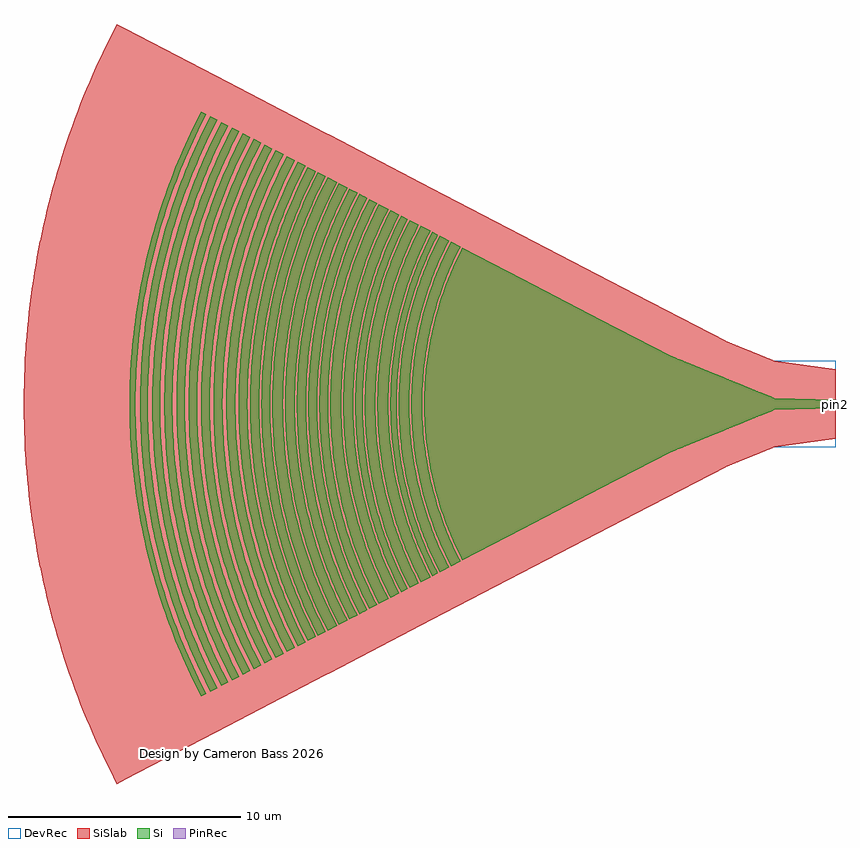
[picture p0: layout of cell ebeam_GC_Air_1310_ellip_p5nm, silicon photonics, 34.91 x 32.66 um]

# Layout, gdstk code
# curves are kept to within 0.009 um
import gdstk
lib = gdstk.Library(unit=1e-6, precision=1e-09)
def P(c, l, *ps):  # polygons
    for p in ps: c.add(gdstk.Polygon(p, *l))
Si = (1, 0)
PinRec = (1, 10)
SiSlab = (2, 0)
DevRec = (68, 0)

ebeam_gc_air_1310_ellip_ = lib.new_cell('ebeam_GC_Air_1310_ellip_p5nm')
P(ebeam_gc_air_1310_ellip_, Si, [(-16.05,-6.723),(-16.415,-5.971),(-16.789,-5.055),(-17.018,-4.386),(-17.283,-3.432),(-17.459,-2.602),(-17.586,-1.764),(-17.664,-0.918),(-17.692,-0.071),(-17.664,0.918),(-17.586,1.764),(-17.459,2.603),(-17.283,3.432),(-17.018,4.386),(-16.789,5.055),(-16.415,5.971),(-16.05,6.723),(-7.09,2.062),(-2.649,0.255),(0,0.175),(0,-0.175),(-2.66,-0.257),(-2.844,-0.342),(-3.198,-0.475),(-7.149,-2.087)],
  [(-16.542,-6.978),(-16.918,-6.201),(-17.255,-5.387),(-17.544,-4.554),(-17.784,-3.707),(-17.975,-2.847),(-18.115,-1.977),(-18.214,-0.954),(-18.244,-0.073),(-18.223,0.807),(-18.133,1.832),(-18.002,2.703),(-17.819,3.564),(-17.71,3.991),(-17.544,4.554),(-17.255,5.387),(-16.918,6.201),(-16.542,6.979),(-16.13,6.764),(-16.496,6.008),(-16.823,5.219),(-17.103,4.413),(-17.336,3.592),(-17.547,2.619),(-17.675,1.774),(-17.762,0.783),(-17.782,0.071),(-17.762,-0.783),(-17.675,-1.774),(-17.547,-2.618),(-17.37,-3.454),(-17.145,-4.278),(-16.873,-5.086),(-16.496,-6.008),(-16.13,-6.764)],
  [(-17.023,-7.229),(-17.412,-6.425),(-17.761,-5.582),(-18.06,-4.719),(-18.309,-3.841),(-18.506,-2.95),(-18.651,-2.049),(-18.744,-1.14),(-18.771,-0.684),(-18.785,-0.076),(-18.763,0.836),(-18.688,1.747),(-18.631,2.2),(-18.534,2.8),(-18.345,3.693),(-18.191,4.282),(-18.06,4.719),(-17.761,5.582),(-17.412,6.425),(-17.023,7.229),(-16.621,7.02),(-16.813,6.64),(-17.059,6.103),(-17.39,5.281),(-17.673,4.441),(-17.907,3.586),(-18.09,2.719),(-18.223,1.842),(-18.304,0.96),(-18.334,0.074),(-18.313,-0.812),(-18.223,-1.842),(-18.09,-2.719),(-17.907,-3.586),(-17.673,-4.441),(-17.39,-5.281),(-17.059,-6.103),(-16.621,-7.02)],
  [(-17.343,-7.396),(-17.741,-6.573),(-18.098,-5.711),(-18.404,-4.829),(-18.659,-3.93),(-18.861,-3.018),(-18.942,-2.558),(-19.029,-1.942),(-19.115,-1.011),(-19.146,-0.078),(-19.124,0.856),(-19.029,1.942),(-18.889,2.865),(-18.696,3.779),(-18.45,4.679),(-18.153,5.565),(-17.985,6.001),(-17.741,6.574),(-17.343,7.396),(-17.103,7.27),(-17.3,6.878),(-17.555,6.322),(-17.789,5.757),(-17.95,5.327),(-18.099,4.892),(-18.277,4.307),(-18.396,3.864),(-18.534,3.267),(-18.698,2.363),(-18.794,1.604),(-18.853,0.842),(-18.875,0.077),(-18.86,-0.689),(-18.809,-1.452),(-18.698,-2.363),(-18.565,-3.117),(-18.468,-3.566),(-18.318,-4.159),(-18.191,-4.6),(-18.001,-5.182),(-17.789,-5.756),(-17.555,-6.322),(-17.103,-7.27)],
  [(-17.839,-7.654),(-18.046,-7.241),(-18.315,-6.656),(-18.676,-5.76),(-18.984,-4.843),(-19.238,-3.911),(-19.438,-2.965),(-19.582,-2.01),(-19.671,-1.046),(-19.704,-0.08),(-19.68,0.886),(-19.601,1.85),(-19.466,2.807),(-19.345,3.44),(-19.238,3.911),(-18.984,4.843),(-18.676,5.76),(-18.502,6.211),(-18.25,6.804),(-17.839,7.654),(-17.423,7.437),(-17.625,7.037),(-17.886,6.468),(-18.181,5.743),(-18.49,4.855),(-18.746,3.953),(-18.978,2.881),(-19.118,1.952),(-19.182,1.33),(-19.214,0.861),(-19.236,0.078),(-19.214,-0.861),(-19.182,-1.33),(-19.118,-1.952),(-18.978,-2.881),(-18.783,-3.8),(-18.536,-4.707),(-18.236,-5.596),(-17.886,-6.468),(-17.625,-7.037),(-17.423,-7.437)],
  [(-18.319,-7.904),(-18.744,-7.025),(-19.004,-6.413),(-19.183,-5.948),(-19.502,-5.001),(-19.764,-4.038),(-19.97,-3.062),(-20.12,-2.075),(-20.211,-1.081),(-20.245,-0.083),(-20.221,0.915),(-20.139,1.91),(-19.999,2.898),(-19.803,3.877),(-19.64,4.522),(-19.502,5.001),(-19.183,5.948),(-19.004,6.413),(-18.744,7.026),(-18.319,7.904),(-17.92,7.696),(-18.333,6.841),(-18.525,6.395),(-18.761,5.791),(-19.071,4.871),(-19.327,3.933),(-19.528,2.981),(-19.673,2.02),(-19.763,1.053),(-19.796,0.081),(-19.772,-0.891),(-19.692,-1.859),(-19.556,-2.822),(-19.467,-3.3),(-19.327,-3.932),(-19.071,-4.87),(-18.761,-5.791),(-18.525,-6.394),(-18.333,-6.841),(-17.92,-7.696)],
  [(-18.681,-8.092),(-19.116,-7.192),(-19.507,-6.248),(-19.842,-5.283),(-20.034,-4.629),(-20.161,-4.134),(-20.372,-3.135),(-20.525,-2.124),(-20.619,-1.106),(-20.653,-0.085),(-20.629,0.936),(-20.545,1.956),(-20.402,2.967),(-20.274,3.636),(-20.161,4.134),(-20.034,4.629),(-19.842,5.282),(-19.507,6.248),(-19.116,7.192),(-18.681,8.092),(-18.399,7.946),(-18.615,7.518),(-18.96,6.756),(-19.149,6.292),(-19.381,5.664),(-19.588,5.029),(-19.727,4.546),(-19.891,3.897),(-19.997,3.407),(-20.142,2.583),(-20.247,1.753),(-20.312,0.92),(-20.336,0.084),(-20.312,-0.92),(-20.247,-1.753),(-20.142,-2.583),(-19.997,-3.407),(-19.891,-3.897),(-19.727,-4.546),(-19.539,-5.187),(-19.381,-5.664),(-19.149,-6.291),(-18.96,-6.756),(-18.615,-7.518),(-18.399,-7.945)],
  [(-19.139,-8.331),(-19.587,-7.405),(-19.862,-6.759),(-20.051,-6.269),(-20.386,-5.271),(-20.663,-4.256),(-20.88,-3.227),(-21.038,-2.187),(-21.134,-1.139),(-21.17,-0.088),(-21.16,0.614),(-21.134,1.139),(-21.038,2.187),(-20.88,3.227),(-20.663,4.256),(-20.386,5.271),(-20.051,6.269),(-19.658,7.245),(-19.441,7.723),(-19.139,8.331),(-18.762,8.134),(-19.199,7.23),(-19.467,6.599),(-19.651,6.12),(-19.979,5.147),(-20.25,4.156),(-20.462,3.151),(-20.616,2.135),(-20.71,1.113),(-20.745,0.086),(-20.72,-0.942),(-20.636,-1.965),(-20.492,-2.982),(-20.398,-3.487),(-20.25,-4.156),(-19.979,-5.147),(-19.651,-6.12),(-19.268,-7.073),(-18.983,-7.695),(-18.762,-8.134)],
  [(-19.638,-8.591),(-20.098,-7.638),(-20.513,-6.636),(-20.868,-5.611),(-21.164,-4.566),(-21.398,-3.507),(-21.571,-2.436),(-21.681,-1.355),(-21.712,-0.814),(-21.73,-0.09),(-21.704,0.994),(-21.614,2.077),(-21.463,3.151),(-21.327,3.861),(-21.207,4.391),(-20.922,5.437),(-20.698,6.126),(-20.513,6.636),(-20.098,7.638),(-19.638,8.591),(-19.22,8.373),(-19.669,7.442),(-20.074,6.465),(-20.254,5.968),(-20.473,5.298),(-20.709,4.449),(-20.937,3.417),(-21.106,2.373),(-21.184,1.673),(-21.225,1.145),(-21.261,0.088),(-21.256,-0.441),(-21.225,-1.145),(-21.128,-2.197),(-20.97,-3.243),(-20.751,-4.278),(-20.473,-5.298),(-20.254,-5.968),(-20.074,-6.465),(-19.669,-7.442),(-19.22,-8.373)],
  [(-20.053,-8.807),(-20.526,-7.828),(-20.951,-6.801),(-21.316,-5.749),(-21.619,-4.679),(-21.859,-3.594),(-22.036,-2.496),(-22.149,-1.389),(-22.181,-0.834),(-22.199,-0.093),(-22.172,1.019),(-22.081,2.128),(-22.011,2.68),(-21.893,3.412),(-21.663,4.5),(-21.475,5.217),(-21.316,5.749),(-20.951,6.801),(-20.526,7.828),(-20.053,8.807),(-19.722,8.634),(-20.184,7.676),(-20.601,6.668),(-20.959,5.638),(-21.256,4.589),(-21.492,3.524),(-21.586,2.987),(-21.688,2.267),(-21.788,1.181),(-21.825,0.091),(-21.815,-0.636),(-21.746,-1.725),(-21.641,-2.627),(-21.457,-3.702),(-21.341,-4.235),(-21.164,-4.941),(-20.959,-5.637),(-20.727,-6.327),(-20.469,-7.006),(-20.258,-7.509),(-19.955,-8.17),(-19.722,-8.634)],
  [(-20.473,-9.026),(-20.959,-8.021),(-21.395,-6.968),(-21.768,-5.891),(-22.079,-4.795),(-22.21,-4.24),(-22.36,-3.496),(-22.53,-2.369),(-22.635,-1.234),(-22.674,-0.095),(-22.646,1.044),(-22.552,2.181),(-22.393,3.309),(-22.289,3.869),(-22.124,4.611),(-21.932,5.345),(-21.768,5.892),(-21.395,6.968),(-20.959,8.021),(-20.473,9.026),(-20.134,8.849),(-20.374,8.372),(-20.758,7.524),(-21.036,6.833),(-21.227,6.307),(-21.457,5.6),(-21.612,5.063),(-21.795,4.34),(-21.913,3.794),(-22.074,2.876),(-22.191,1.952),(-22.263,1.024),(-22.29,0.093),(-22.272,-0.838),(-22.209,-1.768),(-22.101,-2.692),(-21.913,-3.794),(-21.795,-4.34),(-21.612,-5.063),(-21.402,-5.778),(-21.227,-6.307),(-20.969,-7.006),(-20.758,-7.524),(-20.374,-8.372),(-20.134,-8.849)],
  [(-20.908,-9.252),(-21.407,-8.219),(-21.853,-7.141),(-22.236,-6.038),(-22.555,-4.914),(-22.689,-4.345),(-22.843,-3.582),(-23.018,-2.428),(-23.125,-1.264),(-23.164,-0.097),(-23.159,0.487),(-23.125,1.264),(-23.018,2.428),(-22.843,3.583),(-22.601,4.725),(-22.294,5.851),(-21.922,6.959),(-21.486,8.042),(-21.16,8.749),(-20.908,9.252),(-20.558,9.069),(-20.805,8.577),(-21.123,7.884),(-21.551,6.821),(-21.916,5.737),(-22.218,4.632),(-22.455,3.512),(-22.626,2.38),(-22.731,1.24),(-22.77,0.096),(-22.751,-0.859),(-22.687,-1.811),(-22.576,-2.758),(-22.383,-3.887),(-22.218,-4.632),(-22.075,-5.187),(-21.86,-5.918),(-21.68,-6.462),(-21.484,-7),(-21.199,-7.708),(-20.887,-8.405),(-20.558,-9.069)],
  [(-21.359,-9.487),(-21.704,-8.792),(-21.951,-8.246),(-22.183,-7.694),(-22.398,-7.136),(-22.78,-6),(-23.095,-4.845),(-23.343,-3.674),(-23.522,-2.49),(-23.632,-1.296),(-23.672,-0.1),(-23.667,0.499),(-23.632,1.297),(-23.522,2.49),(-23.343,3.674),(-23.095,4.845),(-22.78,6),(-22.398,7.136),(-22.183,7.695),(-21.951,8.247),(-21.704,8.792),(-21.359,9.487),(-20.988,9.293),(-21.242,8.789),(-21.489,8.257),(-21.938,7.173),(-22.323,6.064),(-22.491,5.503),(-22.689,4.746),(-22.932,3.598),(-23.108,2.438),(-23.215,1.271),(-23.244,0.685),(-23.255,0.098),(-23.236,-0.88),(-23.17,-1.856),(-23.057,-2.826),(-22.859,-3.982),(-22.689,-4.746),(-22.491,-5.503),(-22.323,-6.064),(-22.073,-6.806),(-21.795,-7.537),(-21.568,-8.078),(-21.241,-8.788),(-20.988,-9.293)],
  [(-21.847,-9.74),(-22.111,-9.214),(-22.453,-8.469),(-22.691,-7.902),(-22.912,-7.328),(-23.117,-6.749),(-23.304,-6.162),(-23.475,-5.571),(-23.628,-4.976),(-23.764,-4.376),(-23.882,-3.773),(-23.983,-3.166),(-24.066,-2.557),(-24.179,-1.331),(-24.209,-0.717),(-24.22,-0.102),(-24.191,1.127),(-24.09,2.354),(-23.983,3.166),(-23.882,3.773),(-23.764,4.376),(-23.628,4.976),(-23.475,5.572),(-23.304,6.162),(-23.117,6.749),(-22.912,7.329),(-22.614,8.092),(-22.37,8.657),(-21.847,9.741),(-21.439,9.528),(-21.699,9.012),(-21.952,8.466),(-22.412,7.355),(-22.807,6.218),(-23.135,5.062),(-23.274,4.476),(-23.395,3.887),(-23.587,2.699),(-23.709,1.503),(-23.744,0.902),(-23.763,0.1),(-23.734,-1.103),(-23.676,-1.903),(-23.612,-2.5),(-23.432,-3.69),(-23.183,-4.867),(-22.866,-6.028),(-22.483,-7.167),(-22.033,-8.283),(-21.785,-8.831),(-21.439,-9.528)],
  [(-22.261,-9.956),(-22.796,-8.847),(-23.045,-8.27),(-23.277,-7.686),(-23.689,-6.499),(-23.869,-5.896),(-24.082,-5.086),(-24.341,-3.856),(-24.444,-3.236),(-24.529,-2.613),(-24.645,-1.361),(-24.687,-0.105),(-24.681,0.524),(-24.657,1.152),(-24.554,2.405),(-24.475,3.029),(-24.378,3.65),(-24.263,4.268),(-24.082,5.086),(-23.751,6.298),(-23.559,6.898),(-23.277,7.686),(-23.045,8.271),(-22.796,8.848),(-22.261,9.956),(-21.927,9.782),(-22.192,9.254),(-22.535,8.506),(-22.85,7.745),(-23.067,7.166),(-23.267,6.582),(-23.506,5.795),(-23.666,5.198),(-23.852,4.395),(-23.971,3.789),(-24.072,3.179),(-24.201,2.158),(-24.281,1.132),(-24.311,0.103),(-24.305,-0.515),(-24.281,-1.132),(-24.201,-2.159),(-24.072,-3.179),(-23.971,-3.789),(-23.852,-4.395),(-23.666,-5.198),(-23.506,-5.794),(-23.267,-6.581),(-23.067,-7.166),(-22.774,-7.936),(-22.535,-8.505),(-22.28,-9.068),(-21.927,-9.782)],
  [(-22.695,-10.182),(-22.973,-9.629),(-23.244,-9.046),(-23.499,-8.456),(-23.736,-7.859),(-23.955,-7.255),(-24.157,-6.645),(-24.399,-5.822),(-24.559,-5.2),(-24.701,-4.573),(-24.824,-3.943),(-24.93,-3.309),(-25.017,-2.672),(-25.085,-2.032),(-25.135,-1.391),(-25.166,-0.75),(-25.178,-0.107),(-25.172,0.536),(-25.147,1.178),(-25.104,1.819),(-25.042,2.459),(-24.961,3.097),(-24.862,3.732),(-24.701,4.573),(-24.559,5.2),(-24.399,5.822),(-24.22,6.44),(-24.024,7.053),(-23.811,7.659),(-23.58,8.258),(-23.331,8.851),(-22.973,9.629),(-22.695,10.182),(-22.344,9.999),(-22.616,9.458),(-22.967,8.693),(-23.289,7.915),(-23.51,7.324),(-23.779,6.526),(-23.959,5.922),(-24.123,5.312),(-24.313,4.492),(-24.505,3.458),(-24.648,2.415),(-24.739,1.367),(-24.77,0.737),(-24.782,0.105),(-24.762,-0.947),(-24.725,-1.577),(-24.67,-2.206),(-24.538,-3.249),(-24.355,-4.286),(-24.222,-4.903),(-24.016,-5.719),(-23.779,-6.526),(-23.51,-7.324),(-23.289,-7.915),(-22.967,-8.693),(-22.706,-9.268),(-22.344,-9.999)],
  [(-23.127,-10.407),(-23.509,-9.639),(-23.691,-9.241),(-23.951,-8.638),(-24.194,-8.028),(-24.418,-7.411),(-24.625,-6.787),(-24.813,-6.158),(-24.983,-5.524),(-25.134,-4.886),(-25.267,-4.243),(-25.381,-3.596),(-25.476,-2.947),(-25.552,-2.295),(-25.624,-1.421),(-25.656,-0.766),(-25.668,-0.109),(-25.662,0.547),(-25.637,1.203),(-25.592,1.858),(-25.529,2.512),(-25.446,3.164),(-25.307,4.028),(-25.18,4.672),(-25.035,5.312),(-24.871,5.948),(-24.689,6.578),(-24.489,7.205),(-24.271,7.824),(-24.034,8.436),(-23.78,9.041),(-23.509,9.639),(-23.127,10.407),(-22.792,10.233),(-23.164,9.48),(-23.517,8.695),(-23.761,8.097),(-23.987,7.492),(-24.262,6.676),(-24.447,6.058),(-24.666,5.225),(-24.809,4.595),(-25.006,3.537),(-25.099,2.898),(-25.174,2.256),(-25.257,1.184),(-25.289,0.108),(-25.268,-0.969),(-25.174,-2.257),(-25.006,-3.537),(-24.809,-4.595),(-24.666,-5.225),(-24.447,-6.058),(-24.262,-6.676),(-23.987,-7.492),(-23.761,-8.097),(-23.431,-8.892),(-23.164,-9.48),(-22.792,-10.232)],
  [(-23.596,-10.652),(-24.177,-9.453),(-24.443,-8.836),(-24.691,-8.212),(-24.921,-7.581),(-25.132,-6.944),(-25.325,-6.299),(-25.499,-5.651),(-25.654,-4.997),(-25.789,-4.34),(-25.941,-3.457),(-26.032,-2.792),(-26.103,-2.123),(-26.155,-1.454),(-26.188,-0.783),(-26.201,-0.112),(-26.194,0.56),(-26.168,1.231),(-26.123,1.901),(-26.058,2.57),(-25.973,3.236),(-25.869,3.9),(-25.701,4.779),(-25.552,5.434),(-25.385,6.084),(-25.198,6.729),(-24.993,7.37),(-24.77,8.003),(-24.528,8.629),(-24.268,9.248),(-23.99,9.86),(-23.596,10.652),(-23.25,10.471),(-23.54,9.895),(-23.907,9.095),(-24.163,8.486),(-24.476,7.663),(-24.69,7.038),(-24.947,6.196),(-25.171,5.344),(-25.317,4.7),(-25.519,3.617),(-25.668,2.526),(-25.731,1.87),(-25.776,1.211),(-25.808,0.11),(-25.787,-0.991),(-25.749,-1.65),(-25.691,-2.308),(-25.553,-3.4),(-25.444,-4.051),(-25.317,-4.7),(-25.171,-5.344),(-24.947,-6.196),(-24.757,-6.829),(-24.476,-7.662),(-24.163,-8.486),(-23.907,-9.095),(-23.54,-9.895),(-23.25,-10.471)],
  [(-24.079,-10.903),(-24.385,-10.293),(-24.676,-9.67),(-24.949,-9.039),(-25.203,-8.401),(-25.438,-7.756),(-25.722,-6.884),(-25.913,-6.224),(-26.084,-5.559),(-26.236,-4.889),(-26.369,-4.215),(-26.482,-3.537),(-26.575,-2.856),(-26.648,-2.172),(-26.701,-1.487),(-26.735,-0.801),(-26.748,-0.114),(-26.741,0.573),(-26.715,1.259),(-26.668,1.944),(-26.575,2.857),(-26.482,3.537),(-26.369,4.215),(-26.236,4.889),(-26.084,5.559),(-25.913,6.224),(-25.722,6.884),(-25.438,7.756),(-25.203,8.401),(-24.949,9.04),(-24.676,9.67),(-24.386,10.293),(-24.079,10.903),(-23.738,10.725),(-24.038,10.129),(-24.414,9.31),(-24.76,8.477),(-24.997,7.844),(-25.285,6.989),(-25.479,6.342),(-25.709,5.47),(-25.858,4.811),(-26.065,3.703),(-26.218,2.586),(-26.316,1.464),(-26.349,0.789),(-26.362,0.113),(-26.34,-1.014),(-26.3,-1.689),(-26.242,-2.362),(-26.1,-3.48),(-25.904,-4.59),(-25.761,-5.251),(-25.54,-6.125),(-25.285,-6.99),(-24.997,-7.844),(-24.76,-8.477),(-24.414,-9.31),(-24.038,-10.129),(-23.738,-10.725)],
  [(-24.549,-11.148),(-24.865,-10.521),(-25.162,-9.884),(-25.441,-9.239),(-25.7,-8.587),(-25.941,-7.927),(-26.162,-7.261),(-26.426,-6.362),(-26.602,-5.682),(-26.757,-4.997),(-26.893,-4.308),(-27.008,-3.615),(-27.103,-2.92),(-27.178,-2.22),(-27.233,-1.52),(-27.267,-0.819),(-27.28,-0.117),(-27.267,0.819),(-27.233,1.521),(-27.178,2.221),(-27.103,2.92),(-27.008,3.615),(-26.893,4.308),(-26.757,4.997),(-26.602,5.682),(-26.426,6.362),(-26.162,7.261),(-25.941,7.927),(-25.7,8.587),(-25.441,9.24),(-25.162,9.884),(-24.865,10.521),(-24.549,11.148),(-24.219,10.976),(-24.529,10.361),(-24.915,9.523),(-25.183,8.885),(-25.511,8.023),(-25.806,7.149),(-26.004,6.488),(-26.184,5.819),(-26.392,4.921),(-26.604,3.788),(-26.76,2.645),(-26.861,1.498),(-26.894,0.807),(-26.907,0.115),(-26.901,-0.576),(-26.874,-1.268),(-26.784,-2.417),(-26.704,-3.103),(-26.604,-3.788),(-26.392,-4.921),(-26.184,-5.819),(-26.004,-6.487),(-25.806,-7.149),(-25.511,-8.023),(-25.183,-8.885),(-24.915,-9.523),(-24.628,-10.153),(-24.219,-10.976)],
  [(-25.022,-11.394),(-25.345,-10.751),(-25.65,-10.101),(-25.934,-9.442),(-26.2,-8.775),(-26.445,-8.101),(-26.671,-7.42),(-26.878,-6.731),(-27.064,-6.038),(-27.229,-5.34),(-27.375,-4.637),(-27.499,-3.931),(-27.604,-3.221),(-27.687,-2.508),(-27.75,-1.792),(-27.801,-0.837),(-27.815,-0.12),(-27.808,0.598),(-27.78,1.315),(-27.731,2.031),(-27.662,2.746),(-27.571,3.458),(-27.419,4.402),(-27.28,5.107),(-27.121,5.806),(-26.942,6.501),(-26.742,7.191),(-26.523,7.875),(-26.2,8.775),(-25.934,9.442),(-25.65,10.101),(-25.345,10.751),(-25.022,11.394),(-24.699,11.226),(-25.018,10.594),(-25.412,9.737),(-25.686,9.085),(-26.022,8.204),(-26.251,7.535),(-26.526,6.634),(-26.71,5.95),(-26.923,5.032),(-27.139,3.873),(-27.299,2.705),(-27.368,2.002),(-27.416,1.296),(-27.45,0.118),(-27.443,-0.589),(-27.416,-1.296),(-27.324,-2.471),(-27.176,-3.64),(-27.06,-4.338),(-26.923,-5.032),(-26.71,-5.95),(-26.526,-6.633),(-26.323,-7.311),(-26.022,-8.204),(-25.686,-9.085),(-25.412,-9.737),(-25.017,-10.594),(-24.699,-11.225)],
  [(-25.484,-11.634),(-25.815,-10.977),(-26.125,-10.313),(-26.415,-9.64),(-26.686,-8.959),(-26.937,-8.271),(-27.168,-7.576),(-27.379,-6.873),(-27.569,-6.165),(-27.79,-5.214),(-27.931,-4.495),(-28.052,-3.772),(-28.151,-3.046),(-28.229,-2.317),(-28.286,-1.586),(-28.321,-0.855),(-28.336,-0.122),(-28.321,0.855),(-28.286,1.586),(-28.229,2.317),(-28.151,3.046),(-28.052,3.772),(-27.931,4.495),(-27.79,5.214),(-27.627,5.928),(-27.444,6.638),(-27.241,7.341),(-27.017,8.04),(-26.686,8.96),(-26.415,9.64),(-26.125,10.313),(-25.814,10.977),(-25.484,11.634),(-25.173,11.472),(-25.603,10.608),(-25.902,9.95),(-26.272,9.06),(-26.526,8.383),(-26.834,7.47),(-27.041,6.779),(-27.229,6.08),(-27.396,5.377),(-27.542,4.669),(-27.668,3.958),(-27.831,2.764),(-27.901,2.046),(-27.95,1.325),(-27.985,0.121),(-27.962,-1.084),(-27.92,-1.805),(-27.857,-2.524),(-27.773,-3.242),(-27.668,-3.957),(-27.447,-5.141),(-27.229,-6.08),(-27.041,-6.778),(-26.834,-7.47),(-26.526,-8.383),(-26.272,-9.06),(-25.902,-9.95),(-25.603,-10.608),(-25.173,-11.472)],
  [(-25.949,-11.876),(-26.286,-11.205),(-26.604,-10.527),(-26.9,-9.841),(-27.177,-9.146),(-27.433,-8.443),(-27.669,-7.733),(-27.884,-7.016),(-28.078,-6.293),(-28.303,-5.322),(-28.448,-4.588),(-28.57,-3.85),(-28.672,-3.109),(-28.752,-2.365),(-28.81,-1.619),(-28.846,-0.872),(-28.86,-0.125),(-28.846,0.872),(-28.81,1.619),(-28.752,2.365),(-28.672,3.11),(-28.57,3.851),(-28.448,4.588),(-28.303,5.322),(-28.137,6.051),(-27.951,6.776),(-27.743,7.494),(-27.514,8.207),(-27.265,8.912),(-26.995,9.61),(-26.604,10.527),(-26.287,11.205),(-25.949,11.877),(-25.643,11.717),(-25.977,11.056),(-26.388,10.162),(-26.674,9.481),(-27.025,8.561),(-27.264,7.863),(-27.552,6.923),(-27.743,6.21),(-27.966,5.251),(-28.191,4.042),(-28.358,2.823),(-28.43,2.089),(-28.48,1.353),(-28.516,0.123),(-28.508,-0.615),(-28.48,-1.353),(-28.384,-2.579),(-28.298,-3.311),(-28.191,-4.041),(-27.966,-5.251),(-27.802,-5.971),(-27.552,-6.922),(-27.264,-7.863),(-27.025,-8.561),(-26.674,-9.481),(-26.388,-10.161),(-25.977,-11.055),(-25.643,-11.717)],
  [(-26.408,-12.115),(-26.752,-11.43),(-27.076,-10.739),(-27.378,-10.038),(-27.66,-9.329),(-27.922,-8.612),(-28.162,-7.888),(-28.381,-7.156),(-28.579,-6.42),(-28.809,-5.429),(-28.957,-4.68),(-29.082,-3.928),(-29.185,-3.172),(-29.267,-2.412),(-29.326,-1.652),(-29.363,-0.89),(-29.378,-0.127),(-29.37,0.636),(-29.341,1.398),(-29.289,2.159),(-29.215,2.92),(-29.119,3.676),(-28.957,4.68),(-28.809,5.429),(-28.64,6.173),(-28.45,6.912),(-28.238,7.645),(-28.004,8.372),(-27.75,9.091),(-27.475,9.803),(-27.076,10.739),(-26.753,11.43),(-26.408,12.115),(-26.112,11.961),(-26.453,11.286),(-26.771,10.603),(-27.07,9.911),(-27.437,8.976),(-27.688,8.265),(-27.991,7.308),(-28.256,6.339),(-28.43,5.606),(-28.583,4.868),(-28.714,4.126),(-28.884,2.882),(-28.994,1.632),(-29.03,0.879),(-29.045,0.126),(-29.037,-0.628),(-29.008,-1.381),(-28.911,-2.632),(-28.823,-3.38),(-28.714,-4.126),(-28.483,-5.36),(-28.256,-6.339),(-28.061,-7.066),(-27.844,-7.788),(-27.523,-8.739),(-27.258,-9.445),(-26.873,-10.373),(-26.561,-11.059),(-26.112,-11.961)],
  [(-26.878,-12.36),(-27.335,-11.441),(-27.552,-10.969),(-27.861,-10.254),(-28.24,-9.286),(-28.499,-8.552),(-28.737,-7.809),(-28.953,-7.06),(-29.148,-6.305),(-29.32,-5.545),(-29.47,-4.781),(-29.598,-4.012),(-29.704,-3.24),(-29.786,-2.464),(-29.847,-1.687),(-29.885,-0.909),(-29.9,-0.13),(-29.885,0.909),(-29.847,1.687),(-29.786,2.464),(-29.704,3.24),(-29.598,4.012),(-29.47,4.781),(-29.32,5.546),(-29.148,6.305),(-28.953,7.06),(-28.737,7.809),(-28.499,8.552),(-28.24,9.287),(-27.861,10.254),(-27.552,10.969),(-27.222,11.676),(-26.878,12.361),(-26.579,12.205),(-26.927,11.515),(-27.356,10.584),(-27.749,9.637),(-28.019,8.917),(-28.268,8.19),(-28.496,7.456),(-28.703,6.716),(-28.944,5.72),(-29.192,4.462),(-29.311,3.703),(-29.408,2.94),(-29.482,2.176),(-29.534,1.409),(-29.572,0.128),(-29.547,-1.153),(-29.502,-1.92),(-29.435,-2.686),(-29.274,-3.956),(-29.147,-4.715),(-28.999,-5.469),(-28.767,-6.467),(-28.567,-7.21),(-28.347,-7.946),(-28.019,-8.917),(-27.749,-9.637),(-27.356,-10.584),(-27.037,-11.284),(-26.579,-12.204)],
  [(-27.276,-12.568),(-27.748,-11.618),(-27.969,-11.138),(-28.282,-10.412),(-28.574,-9.676),(-28.831,-8.974),(-29.094,-8.182),(-29.321,-7.423),(-29.526,-6.659),(-29.708,-5.889),(-29.868,-5.114),(-30.006,-4.334),(-30.121,-3.552),(-30.238,-2.502),(-30.294,-1.794),(-30.338,-0.923),(-30.353,-0.132),(-30.345,0.659),(-30.315,1.45),(-30.261,2.24),(-30.154,3.29),(-30.047,4.074),(-29.917,4.855),(-29.764,5.631),(-29.589,6.403),(-29.392,7.169),(-29.172,7.929),(-28.931,8.684),(-28.667,9.43),(-28.382,10.168),(-27.969,11.139),(-27.633,11.856),(-27.276,12.568),(-27.058,12.454),(-27.405,11.764),(-27.842,10.813),(-28.243,9.846),(-28.519,9.11),(-28.853,8.118),(-29.079,7.366),(-29.282,6.608),(-29.463,5.844),(-29.622,5.074),(-29.758,4.301),(-29.935,3.004),(-30.05,1.701),(-30.088,0.916),(-30.103,0.131),(-30.078,-1.178),(-30.032,-1.962),(-29.963,-2.744),(-29.872,-3.523),(-29.758,-4.301),(-29.622,-5.074),(-29.463,-5.843),(-29.282,-6.608),(-29.079,-7.366),(-28.853,-8.119),(-28.519,-9.11),(-28.243,-9.846),(-27.842,-10.813),(-27.517,-11.528),(-27.058,-12.454)])
P(ebeam_gc_air_1310_ellip_, SiSlab, [(-30.904,-16.329),(-31.366,-15.41),(-31.801,-14.477),(-32.208,-13.533),(-32.588,-12.577),(-32.94,-11.61),(-33.264,-10.634),(-33.559,-9.648),(-33.825,-8.655),(-34.062,-7.654),(-34.27,-6.647),(-34.449,-5.634),(-34.598,-4.616),(-34.717,-3.594),(-34.807,-2.569),(-34.867,-1.543),(-34.9,-0.171),(-34.89,0.857),(-34.85,1.885),(-34.781,2.912),(-34.681,3.935),(-34.552,4.956),(-34.393,5.972),(-34.135,7.319),(-33.907,8.322),(-33.651,9.318),(-33.365,10.307),(-33.051,11.286),(-32.709,12.256),(-32.338,13.216),(-31.94,14.164),(-31.366,15.41),(-30.904,16.329),(-4.744,2.708),(-2.65,1.855),(0,1.5),(0,-1.5),(-2.65,-1.855),(-4.728,-2.7)])
P(ebeam_gc_air_1310_ellip_, DevRec, [(-30.904,-16.329),(-31.366,-15.41),(-31.801,-14.477),(-32.208,-13.533),(-32.588,-12.577),(-32.94,-11.61),(-33.264,-10.634),(-33.559,-9.648),(-33.825,-8.655),(-34.062,-7.654),(-34.27,-6.647),(-34.449,-5.634),(-34.598,-4.616),(-34.717,-3.594),(-34.807,-2.569),(-34.867,-1.543),(-34.9,-0.171),(-34.89,0.857),(-34.85,1.885),(-34.781,2.912),(-34.681,3.935),(-34.552,4.956),(-34.393,5.972),(-34.135,7.319),(-33.907,8.322),(-33.651,9.318),(-33.365,10.307),(-33.051,11.286),(-32.709,12.256),(-32.338,13.216),(-31.94,14.164),(-31.366,15.41),(-30.904,16.329),(-4.744,2.708),(-2.65,1.855),(0,1.855),(0,-1.855),(-2.65,-1.855),(-4.728,-2.7)])
ebeam_gc_air_1310_ellip_.add(gdstk.FlexPath([(-0.01,0),(0.01,0)], 0.35, ends="flush", simple_path=True, layer=1, datatype=10))  # PinRec
ebeam_gc_air_1310_ellip_.add(gdstk.Label('pin2', (0,0), layer=1, texttype=10))
ebeam_gc_air_1310_ellip_.add(gdstk.Label('Design by Cameron Bass 2026', (-25.94,-15.02), layer=10, texttype=0))

lib.write_gds('ebeam_GC_Air_1310_ellip_p5nm.gds')
